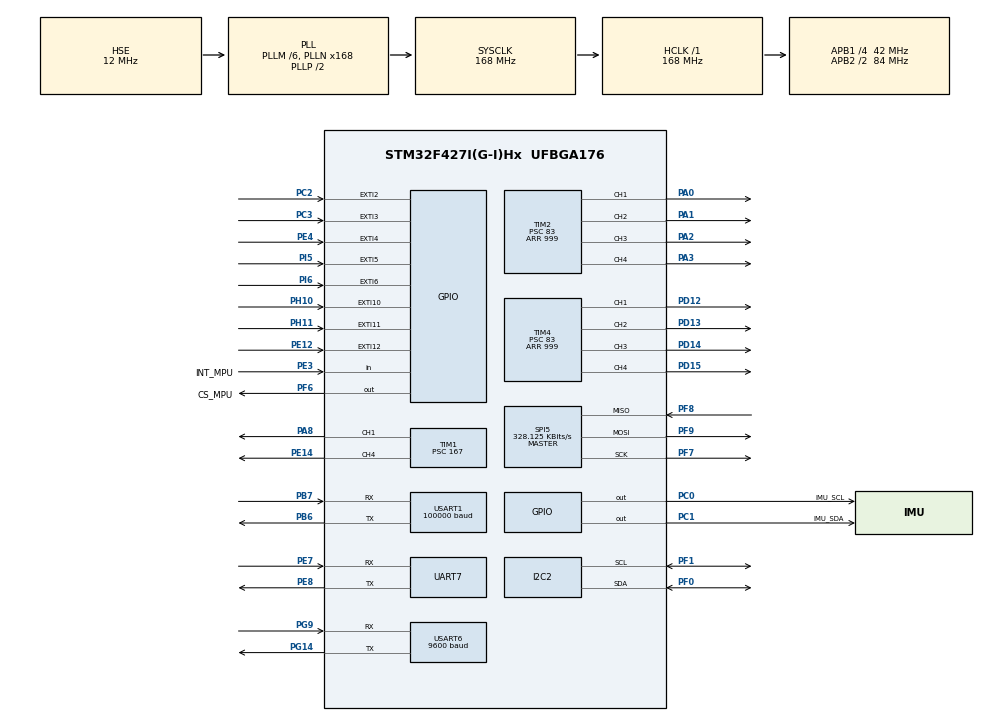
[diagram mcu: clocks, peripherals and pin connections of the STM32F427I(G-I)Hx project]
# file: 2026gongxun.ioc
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Dma.Request0=USART1_RX
Dma.USART1_RX.0.Direction=DMA_PERIPH_TO_MEMORY
Dma.USART1_RX.0.FIFOMode=DMA_FIFOMODE_DISABLE
Dma.USART1_RX.0.Instance=DMA2_Stream5
Dma.USART1_RX.0.MemDataAlignment=DMA_MDATAALIGN_BYTE
Dma.USART1_RX.0.MemInc=DMA_MINC_ENABLE
Dma.USART1_RX.0.Mode=DMA_NORMAL
Dma.USART1_RX.0.PeriphDataAlignment=DMA_PDATAALIGN_BYTE
Dma.USART1_RX.0.PeriphInc=DMA_PINC_DISABLE
Dma.USART1_RX.0.Priority=DMA_PRIORITY_HIGH
FREERTOS.Tasks01=defaultTask,0,128,StartDefaultTask,Default,NULL,Dynamic,NULL,NULL
Mcu.Family=STM32F4
Mcu.Name=STM32F427I(G-I)Hx
Mcu.Package=UFBGA176
NVIC.DMA2_Stream5_IRQn=true\:5\:0\:false\:false\:true\:false\:false\:true\:true
NVIC.EXTI15_10_IRQn=true\:5\:0\:false\:false\:true\:true\:true\:true\:true
NVIC.EXTI2_IRQn=true\:5\:0\:false\:false\:true\:true\:true\:true\:true
NVIC.EXTI3_IRQn=true\:5\:0\:false\:false\:true\:true\:true\:true\:true
NVIC.EXTI4_IRQn=true\:5\:0\:false\:false\:true\:true\:true\:true\:true
NVIC.EXTI9_5_IRQn=true\:5\:0\:false\:false\:true\:true\:true\:true\:true
NVIC.PriorityGroup=NVIC_PRIORITYGROUP_4
NVIC.TIM6_DAC_IRQn=true\:5\:0\:false\:false\:true\:true\:true\:true\:true
NVIC.UART7_IRQn=true\:5\:0\:false\:false\:true\:true\:true\:true\:true
NVIC.USART1_IRQn=true\:5\:0\:false\:false\:true\:true\:true\:true\:true
NVIC.USART6_IRQn=true\:5\:0\:false\:false\:true\:true\:true\:true\:true
PA0/WKUP.Signal=S_TIM2_CH1_ETR
PA1.Signal=S_TIM2_CH2
PA13.Mode=Serial_Wire
PA13.Signal=SYS_JTMS-SWDIO
PA14.Mode=Serial_Wire
PA14.Signal=SYS_JTCK-SWCLK
PA2.Signal=S_TIM2_CH3
PA3.Signal=S_TIM2_CH4
PA5.Signal=SPI1_SCK
PA6.Signal=SPI1_MISO
PA7.Signal=SPI1_MOSI
PA8.Signal=S_TIM1_CH1
PB0.Signal=S_TIM3_CH3
PB1.Signal=S_TIM3_CH4
PB6.Mode=Asynchronous
PB6.Signal=USART1_TX
PB7.Mode=Asynchronous
PB7.Signal=USART1_RX
PC0.GPIO_Label=IMU_SCL
PC0.GPIO_PuPd=GPIO_PULLUP
PC0.GPIO_Speed=GPIO_SPEED_FREQ_HIGH
PC0.PinState=GPIO_PIN_SET
PC0.Signal=GPIO_Output
PC1.GPIO_Label=IMU_SDA
PC1.GPIO_PuPd=GPIO_PULLUP
PC1.GPIO_Speed=GPIO_SPEED_FREQ_HIGH
PC1.PinState=GPIO_PIN_SET
PC1.Signal=GPIO_Output
PC2.GPIO_ModeDefaultEXTI=GPIO_MODE_IT_RISING_FALLING
PC2.GPIO_PuPd=GPIO_PULLUP
PC2.Signal=GPXTI2
PC3.GPIO_ModeDefaultEXTI=GPIO_MODE_IT_RISING_FALLING
PC3.GPIO_PuPd=GPIO_PULLUP
PC3.Signal=GPXTI3
PD12.Signal=S_TIM4_CH1
PD13.Signal=S_TIM4_CH2
PD14.Signal=S_TIM4_CH3
PD15.Signal=S_TIM4_CH4
PE12.GPIO_ModeDefaultEXTI=GPIO_MODE_IT_RISING_FALLING
PE12.GPIO_PuPd=GPIO_PULLUP
PE12.Signal=GPXTI12
PE14.Signal=S_TIM1_CH4
PE3.GPIO_Label=INT_MPU
PE3.Signal=GPIO_Input
PE4.GPIO_ModeDefaultEXTI=GPIO_MODE_IT_RISING_FALLING
PE4.GPIO_PuPd=GPIO_PULLUP
PE4.Signal=GPXTI4
PE7.Mode=Asynchronous
PE7.Signal=UART7_RX
PE8.Mode=Asynchronous
PE8.Signal=UART7_TX
PF0.Mode=I2C
PF0.Signal=I2C2_SDA
PF1.Mode=I2C
PF1.Signal=I2C2_SCL
PF6.GPIO_Label=CS_MPU
PF6.GPIO_PuPd=GPIO_PULLUP
PF6.GPIO_Speed=GPIO_SPEED_FREQ_HIGH
PF6.PinState=GPIO_PIN_SET
PF6.Signal=GPIO_Output
PF7.Mode=Full_Duplex_Master
PF7.Signal=SPI5_SCK
PF8.Mode=Full_Duplex_Master
PF8.Signal=SPI5_MISO
PF9.Mode=Full_Duplex_Master
PF9.Signal=SPI5_MOSI
PG14.Mode=Asynchronous
PG14.Signal=USART6_TX
PG9.Mode=Asynchronous
PG9.Signal=USART6_RX
PH0/OSC_IN.Mode=HSE-External-Oscillator
PH0/OSC_IN.Signal=RCC_OSC_IN
PH1/OSC_OUT.Mode=HSE-External-Oscillator
PH1/OSC_OUT.Signal=RCC_OSC_OUT
PH10.GPIO_ModeDefaultEXTI=GPIO_MODE_IT_RISING_FALLING
PH10.GPIO_PuPd=GPIO_PULLUP
PH10.Signal=GPXTI10
PH11.GPIO_ModeDefaultEXTI=GPIO_MODE_IT_RISING_FALLING
PH11.GPIO_PuPd=GPIO_PULLUP
PH11.Signal=GPXTI11
PI5.GPIO_ModeDefaultEXTI=GPIO_MODE_IT_RISING_FALLING
PI5.GPIO_PuPd=GPIO_PULLUP
PI5.Signal=GPXTI5
PI6.GPIO_ModeDefaultEXTI=GPIO_MODE_IT_RISING_FALLING
PI6.GPIO_PuPd=GPIO_PULLUP
PI6.Signal=GPXTI6
ProjectManager.HeapSize=0x200
ProjectManager.StackSize=0x400
ProjectManager.TargetToolchain=MDK-ARM V5.32
RCC.48MHZClocksFreq_Value=84000000
RCC.AHBFreq_Value=168000000
RCC.APB1CLKDivider=RCC_HCLK_DIV4
RCC.APB1Freq_Value=42000000
RCC.APB1TimFreq_Value=84000000
RCC.APB2CLKDivider=RCC_HCLK_DIV2
RCC.APB2Freq_Value=84000000
RCC.APB2TimFreq_Value=168000000
RCC.CortexFreq_Value=168000000
RCC.HCLKFreq_Value=168000000
RCC.HSE_VALUE=12000000
RCC.HSI_VALUE=16000000
RCC.LSE_VALUE=32768
RCC.PLLM=6
RCC.PLLN=168
RCC.PLLSourceVirtual=RCC_PLLSOURCE_HSE
RCC.SYSCLKFreq_VALUE=168000000
RCC.SYSCLKSource=RCC_SYSCLKSOURCE_PLLCLK
RCC.VCOOutputFreq_Value=336000000
SH.S_TIM1_CH1.0=TIM1_CH1,PWM Generation1 CH1
SH.S_TIM1_CH4.0=TIM1_CH4,PWM Generation4 CH4
SH.S_TIM2_CH1_ETR.0=TIM2_CH1,PWM Generation1 CH1
SH.S_TIM2_CH2.0=TIM2_CH2,PWM Generation2 CH2
SH.S_TIM2_CH3.0=TIM2_CH3,PWM Generation3 CH3
SH.S_TIM2_CH4.0=TIM2_CH4,PWM Generation4 CH4
SH.S_TIM3_CH3.0=TIM3_CH3
SH.S_TIM3_CH4.0=TIM3_CH4
SH.S_TIM4_CH1.0=TIM4_CH1,PWM Generation1 CH1
SH.S_TIM4_CH2.0=TIM4_CH2,PWM Generation2 CH2
SH.S_TIM4_CH3.0=TIM4_CH3,PWM Generation3 CH3
SH.S_TIM4_CH4.0=TIM4_CH4,PWM Generation4 CH4
SPI5.BaudRatePrescaler=SPI_BAUDRATEPRESCALER_256
SPI5.CLKPhase=SPI_PHASE_2EDGE
SPI5.CLKPolarity=SPI_POLARITY_HIGH
SPI5.CalculateBaudRate=328.125 KBits/s
SPI5.Direction=SPI_DIRECTION_2LINES
SPI5.Mode=SPI_MODE_MASTER
SPI5.VirtualType=VM_MASTER
TIM1.AutoReloadPreload=TIM_AUTORELOAD_PRELOAD_ENABLE
TIM1.Channel-PWM\ Generation1\ CH1=TIM_CHANNEL_1
TIM1.Channel-PWM\ Generation4\ CH4=TIM_CHANNEL_4
TIM1.Period=19999
TIM1.Prescaler=167
TIM1.Pulse-PWM\ Generation1\ CH1=1500
TIM1.Pulse-PWM\ Generation4\ CH4=1500
TIM2.AutoReloadPreload=TIM_AUTORELOAD_PRELOAD_ENABLE
TIM2.Channel-PWM\ Generation1\ CH1=TIM_CHANNEL_1
TIM2.Channel-PWM\ Generation2\ CH2=TIM_CHANNEL_2
TIM2.Channel-PWM\ Generation3\ CH3=TIM_CHANNEL_3
TIM2.Channel-PWM\ Generation4\ CH4=TIM_CHANNEL_4
TIM2.Period=999
TIM2.Prescaler=83
TIM4.Channel-PWM\ Generation1\ CH1=TIM_CHANNEL_1
TIM4.Channel-PWM\ Generation2\ CH2=TIM_CHANNEL_2
TIM4.Channel-PWM\ Generation3\ CH3=TIM_CHANNEL_3
TIM4.Channel-PWM\ Generation4\ CH4=TIM_CHANNEL_4
TIM4.Period=999
TIM4.Prescaler=83
TIM6.Period=999
TIM6.Prescaler=83
UART7.VirtualMode=Asynchronous
USART1.BaudRate=100000
USART1.Parity=PARITY_EVEN
USART1.VirtualMode=VM_ASYNC
USART6.BaudRate=9600
USART6.VirtualMode=VM_ASYNC
VP_FREERTOS_VS_CMSIS_V1.Mode=CMSIS_V1
VP_TIM1_VS_ClockSourceINT.Mode=Internal
VP_TIM2_VS_ClockSourceINT.Mode=Internal
VP_TIM6_VS_ClockSourceINT.Mode=Enable_Timer
board=custom

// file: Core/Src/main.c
/* USER CODE BEGIN Header */
/**
  ******************************************************************************
  * @file           : main.c
  * @brief          : Main program body
  ******************************************************************************
  * @attention
  *
  * Copyright (c) 2024 STMicroelectronics.
  * All rights reserved.
  *
  * This software is licensed under terms that can be found in the LICENSE file
  * in the root directory of this software component.
  * If no LICENSE file comes with this software, it is provided AS-IS.
  *
  ******************************************************************************
  */
/* USER CODE END Header */
#include "main.h"
#include "cmsis_os.h"
#include "dma.h"
#include "i2c.h"
#include "spi.h"
#include "tim.h"
#include "usart.h"
#include "gpio.h"

/* USER CODE BEGIN Includes */
#include "head_file.h"
/* USER CODE END Includes */

void SystemClock_Config(void);
void MX_FREERTOS_Init(void);

int main(void)
{

  /* MCU Configuration--------------------------------------------------------*/

  /* Reset of all peripherals, Initializes the Flash interface and the Systick. */
  HAL_Init();

  /* Configure the system clock */
  SystemClock_Config();

  /* Initialize all configured peripherals */
  MX_GPIO_Init();
  MX_DMA_Init();
  MX_USART1_UART_Init();
  MX_USART6_UART_Init();
  MX_UART7_Init();
  MX_TIM2_Init();
  MX_TIM4_Init();
  MX_I2C2_Init();
  MX_SPI5_Init();
  MX_TIM6_Init();
  MX_TIM1_Init();
  /* USER CODE BEGIN 2 */
  remote_control_init();
  DC_Motor_Init();
	HAL_UART_Receive_IT(&huart6, &rece_data, 1);
//	servo_target[0] = 180;
//	servo_target[1] = 180;
  /* USER CODE END 2 */

  /* Call init function for freertos objects (in cmsis_os2.c) */
  MX_FREERTOS_Init();

  /* Start scheduler */
  osKernelStart();

  /* We should never get here as control is now taken by the scheduler */

  /* Infinite loop */
  while (1)
  {

  }
}

void SystemClock_Config(void)
{
  RCC_OscInitTypeDef RCC_OscInitStruct = {0};
  RCC_ClkInitTypeDef RCC_ClkInitStruct = {0};

  /** Configure the main internal regulator output voltage
  */
  __HAL_RCC_PWR_CLK_ENABLE();
  __HAL_PWR_VOLTAGESCALING_CONFIG(PWR_REGULATOR_VOLTAGE_SCALE1);

  /** Initializes the RCC Oscillators according to the specified parameters
  * in the RCC_OscInitTypeDef structure.
  */
  RCC_OscInitStruct.OscillatorType = RCC_OSCILLATORTYPE_HSE;
  RCC_OscInitStruct.HSEState = RCC_HSE_ON;
  RCC_OscInitStruct.PLL.PLLState = RCC_PLL_ON;
  RCC_OscInitStruct.PLL.PLLSource = RCC_PLLSOURCE_HSE;
  RCC_OscInitStruct.PLL.PLLM = 6;
  RCC_OscInitStruct.PLL.PLLN = 168;
  RCC_OscInitStruct.PLL.PLLP = RCC_PLLP_DIV2;
  RCC_OscInitStruct.PLL.PLLQ = 4;
  if (HAL_RCC_OscConfig(&RCC_OscInitStruct) != HAL_OK)
  {
    Error_Handler();
  }

  /** Initializes the CPU, AHB and APB buses clocks
  */
  RCC_ClkInitStruct.ClockType = RCC_CLOCKTYPE_HCLK|RCC_CLOCKTYPE_SYSCLK
                              |RCC_CLOCKTYPE_PCLK1|RCC_CLOCKTYPE_PCLK2;
  RCC_ClkInitStruct.SYSCLKSource = RCC_SYSCLKSOURCE_PLLCLK;
  RCC_ClkInitStruct.AHBCLKDivider = RCC_SYSCLK_DIV1;
  RCC_ClkInitStruct.APB1CLKDivider = RCC_HCLK_DIV4;
  RCC_ClkInitStruct.APB2CLKDivider = RCC_HCLK_DIV2;

  if (HAL_RCC_ClockConfig(&RCC_ClkInitStruct, FLASH_LATENCY_5) != HAL_OK)
  {
    Error_Handler();
  }
}

void Error_Handler(void)
{
  __disable_irq();
  while (1)
  {
  }
}

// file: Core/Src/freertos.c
/* USER CODE BEGIN Header */
/**
  ******************************************************************************
  * File Name          : freertos.c
  * Description        : Code for freertos applications
  ******************************************************************************
  * @attention
  *
  * Copyright (c) 2024 STMicroelectronics.
  * All rights reserved.
  *
  * This software is licensed under terms that can be found in the LICENSE file
  * in the root directory of this software component.
  * If no LICENSE file comes with this software, it is provided AS-IS.
  *
  ******************************************************************************
  */
/* USER CODE END Header */

#include "FreeRTOS.h"
#include "task.h"
#include "main.h"
#include "cmsis_os.h"

/* USER CODE BEGIN Includes */
#include "head_file.h"
#include "chassis.h"
#include "servo.h"
#include "vision.h"
/* USER CODE END Includes */

osThreadId defaultTaskHandle;

/* USER CODE BEGIN FunctionPrototypes */
osThreadId chassisTaskHandle;
osThreadId servoTaskHandle;
osThreadId visionTaskHandle;
/* USER CODE END FunctionPrototypes */

void StartDefaultTask(void const * argument);

void MX_FREERTOS_Init(void); /* (MISRA C 2004 rule 8.1) */

/* GetIdleTaskMemory prototype (linked to static allocation support) */
void vApplicationGetIdleTaskMemory( StaticTask_t **ppxIdleTaskTCBBuffer, StackType_t **ppxIdleTaskStackBuffer, uint32_t *pulIdleTaskStackSize );

/* USER CODE BEGIN GET_IDLE_TASK_MEMORY */
static StaticTask_t xIdleTaskTCBBuffer;
static StackType_t xIdleStack[configMINIMAL_STACK_SIZE];

void vApplicationGetIdleTaskMemory( StaticTask_t **ppxIdleTaskTCBBuffer, StackType_t **ppxIdleTaskStackBuffer, uint32_t *pulIdleTaskStackSize )
{
  *ppxIdleTaskTCBBuffer = &xIdleTaskTCBBuffer;
  *ppxIdleTaskStackBuffer = &xIdleStack[0];
  *pulIdleTaskStackSize = configMINIMAL_STACK_SIZE;
  /* place for user code */
}
/* USER CODE END GET_IDLE_TASK_MEMORY */

void MX_FREERTOS_Init(void) {

  /* Create the thread(s) */
  /* definition and creation of defaultTask */
  osThreadDef(defaultTask, StartDefaultTask, osPriorityNormal, 0, 128);
  defaultTaskHandle = osThreadCreate(osThread(defaultTask), NULL);

  /* USER CODE BEGIN RTOS_THREADS */
  /* add threads, ... */
  osThreadDef(chassisTask, Chassis_task, osPriorityNormal, 0, 256);
  chassisTaskHandle = osThreadCreate(osThread(chassisTask), NULL);

  osThreadDef(servoTask, Servo_task, osPriorityBelowNormal, 0, 128);
  servoTaskHandle = osThreadCreate(osThread(servoTask), NULL);

	osThreadDef(visionTask, Vision_task, osPriorityNormal, 0, 256);
	visionTaskHandle = osThreadCreate(osThread(visionTask), NULL);

  /* USER CODE END RTOS_THREADS */

}

void StartDefaultTask(void const * argument)
{
  for(;;)
  {
    osDelay(1);
  }
}
